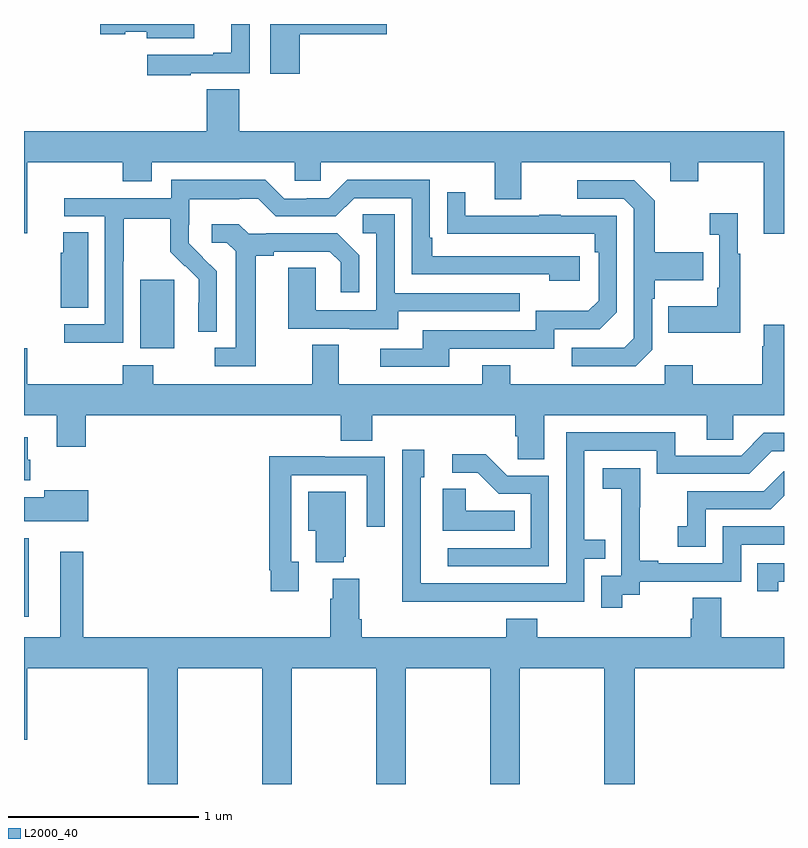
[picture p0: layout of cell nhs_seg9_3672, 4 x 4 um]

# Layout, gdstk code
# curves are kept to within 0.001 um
import gdstk
lib = gdstk.Library(unit=1e-6, precision=1e-09)
def R(c, l, rs):  # rectangles x0, y0, x1, y1
    for r in rs: c.add(gdstk.rectangle(r[:2], r[2:], *l))
def P(c, l, *ps):  # polygons
    for p in ps: c.add(gdstk.Polygon(p, *l))
L2000_40 = (2000, 40)

nhs_seg9_3672 = lib.new_cell('nhs_seg9_3672')
R(nhs_seg9_3672, L2000_40, [(321,1175.379,321.025,1175.794), (321.611,1176.794,321.79,1177.155)])
P(nhs_seg9_3672, L2000_40, [(321.895,1178.5),(321.402,1178.5),(321.402,1178.447),(321.533,1178.447),(321.533,1178.459),(321.647,1178.459),(321.647,1178.426),(321.895,1178.426)],
  [(322.451,1178.447),(322.909,1178.447),(322.909,1178.5),(322.295,1178.5),(322.295,1178.238),(322.451,1178.238)],
  [(321.878,1178.241),(322.188,1178.241),(322.188,1178.5),(322.091,1178.5),(322.091,1178.35),(321.995,1178.35),(321.995,1178.337),(321.648,1178.337),(321.648,1178.229),(321.878,1178.229)],
  [(325,1177.936),(322.133,1177.936),(322.133,1178.156),(321.962,1178.156),(321.962,1177.936),(321,1177.936),(321,1177.398),(321.016,1177.398),(321.016,1177.772),(321.521,1177.772),(321.521,1177.673),(321.673,1177.673),(321.673,1177.772),(322.425,1177.772),(322.425,1177.674),(322.563,1177.674),(322.563,1177.772),(323.477,1177.772),(323.477,1177.578),(323.617,1177.578),(323.617,1177.772),(324.401,1177.772),(324.401,1177.673),(324.549,1177.673),(324.549,1177.772),(324.893,1177.772),(324.893,1177.395),(325,1177.395)],
  [(321.522,1177.252),(321.525,1177.252),(321.525,1177.476),(321.769,1177.476),(321.769,1177.301),(321.846,1177.224),(321.849,1177.227),(321.92,1177.157),(321.92,1177.034),(321.918,1177.034),(321.918,1176.88),(322.014,1176.88),(322.014,1177.198),(321.868,1177.346),(321.868,1177.443),(321.87,1177.443),(321.87,1177.577),(322.133,1177.577),(322.133,1177.581),(322.233,1177.581),(322.326,1177.488),(322.641,1177.488),(322.737,1177.584),(323.04,1177.584),(323.04,1177.182),(323.765,1177.182),(323.765,1177.148),(323.926,1177.148),(323.926,1177.278),(323.149,1177.278),(323.149,1177.375),(323.136,1177.375),(323.136,1177.68),(322.701,1177.68),(322.605,1177.584),(322.487,1177.584),(322.487,1177.581),(322.371,1177.581),(322.271,1177.681),(321.774,1177.681),(321.774,1177.584),(321.213,1177.584),(321.213,1177.488),(321.426,1177.488),(321.426,1176.921),(321.213,1176.921),(321.213,1176.823),(321.522,1176.823)],
  [(324.306,1176.786),(324.306,1177.055),(324.319,1177.055),(324.319,1177.151),(324.575,1177.151),(324.575,1177.299),(324.319,1177.299),(324.319,1177.571),(324.213,1177.677),(323.913,1177.677),(323.913,1177.581),(324.156,1177.581),(324.21,1177.527),(324.21,1176.846),(324.159,1176.795),(323.883,1176.795),(323.883,1176.699),(324.219,1176.699)],
  [(323.239,1176.792),(323.79,1176.792),(323.79,1176.894),(324.03,1176.894),(324.12,1176.984),(324.12,1177.491),(323.825,1177.491),(323.825,1177.496),(323.713,1177.496),(323.713,1177.491),(323.323,1177.491),(323.323,1177.615),(323.227,1177.615),(323.227,1177.396),(324.004,1177.395),(324.004,1177.298),(324.024,1177.298),(324.024,1177.044),(323.971,1176.991),(323.694,1176.991),(323.694,1176.888),(323.099,1176.888),(323.099,1176.792),(322.875,1176.792),(322.875,1176.696),(323.239,1176.696)],
  [(324.769,1177.291),(324.757,1177.291),(324.757,1177.504),(324.609,1177.504),(324.609,1177.391),(324.66,1177.391),(324.66,1177.111),(324.648,1177.111),(324.648,1177.015),(324.391,1177.015),(324.391,1176.875),(324.769,1176.875)],
  [(322.969,1176.987),(323.609,1176.987),(323.609,1177.083),(322.95,1177.083),(322.95,1177.499),(322.782,1177.499),(322.782,1177.398),(322.854,1177.398),(322.854,1176.993),(322.536,1176.993),(322.536,1177.217),(322.391,1177.217),(322.391,1176.897),(322.715,1176.897),(322.715,1176.893),(322.969,1176.893)],
  [(322.219,1177.28),(322.315,1177.28),(322.315,1177.302),(322.61,1177.302),(322.667,1177.245),(322.667,1177.089),(322.764,1177.089),(322.764,1177.282),(322.648,1177.398),(322.276,1177.398),(322.276,1177.395),(322.182,1177.395),(322.13,1177.447),(321.987,1177.447),(321.987,1177.35),(322.068,1177.35),(322.115,1177.303),(322.115,1176.795),(322.005,1176.795),(322.005,1176.699),(322.219,1176.699)],
  [(321.337,1177.403),(321.206,1177.403),(321.206,1177.295),(321.194,1177.295),(321.194,1177.006),(321.337,1177.006)],
  [(323.737,1176.44),(324.593,1176.44),(324.593,1176.313),(324.732,1176.313),(324.732,1176.44),(325,1176.44),(325,1176.916),(324.893,1176.916),(324.893,1176.803),(324.886,1176.803),(324.886,1176.604),(324.519,1176.604),(324.519,1176.703),(324.372,1176.703),(324.372,1176.604),(323.559,1176.604),(323.559,1176.703),(323.411,1176.703),(323.411,1176.604),(322.657,1176.604),(322.657,1176.812),(322.517,1176.812),(322.517,1176.604),(321.681,1176.604),(321.681,1176.703),(321.521,1176.703),(321.521,1176.604),(321.016,1176.604),(321.016,1176.793),(321,1176.793),(321,1176.44),(321.173,1176.44),(321.173,1176.276),(321.326,1176.276),(321.326,1176.44),(322.667,1176.44),(322.667,1176.307),(322.832,1176.307),(322.832,1176.44),(323.585,1176.44),(323.585,1176.331),(323.598,1176.331),(323.598,1176.208),(323.737,1176.208)],
  [(323.453,1175.46),(323.949,1175.46),(323.949,1175.685),(324.059,1175.685),(324.059,1175.786),(323.949,1175.786),(323.949,1176.255),(324.33,1176.255),(324.33,1176.132),(324.816,1176.132),(324.936,1176.252),(325,1176.252),(325,1176.348),(324.894,1176.348),(324.774,1176.228),(324.427,1176.228),(324.427,1176.351),(323.853,1176.351),(323.853,1175.556),(323.088,1175.556),(323.088,1176.114),(323.107,1176.114),(323.107,1176.259),(322.992,1176.259),(322.992,1175.765),(322.99,1175.765),(322.99,1175.459)],
  [(321.032,1176.207),(321.019,1176.207),(321.019,1176.325),(321,1176.325),(321,1176.099),(321.032,1176.099)],
  [(323.763,1176.123),(323.544,1176.123),(323.431,1176.236),(323.253,1176.236),(323.253,1176.138),(323.387,1176.138),(323.498,1176.027),(323.667,1176.027),(323.667,1175.742),(323.229,1175.742),(323.229,1175.646),(323.763,1175.646)],
  [(322.447,1175.67),(322.407,1175.67),(322.407,1176.126),(322.803,1176.126),(322.803,1175.853),(322.899,1175.853),(322.899,1176.222),(322.583,1176.222),(322.583,1176.224),(322.291,1176.224),(322.291,1175.626),(322.299,1175.626),(322.299,1175.514),(322.447,1175.514)],
  [(324.148,1175.497),(324.24,1175.497),(324.24,1175.565),(324.774,1175.565),(324.774,1175.76),(325,1175.76),(325,1175.856),(324.678,1175.856),(324.678,1175.661),(324.337,1175.661),(324.337,1175.674),(324.242,1175.674),(324.242,1175.957),(324.243,1175.957),(324.243,1176.163),(324.045,1176.163),(324.045,1176.053),(324.143,1176.053),(324.143,1175.825),(324.144,1175.825),(324.144,1175.595),(324.039,1175.595),(324.039,1175.427),(324.148,1175.427)],
  [(324.588,1175.946),(324.93,1175.946),(325,1176.016),(325,1176.147),(324.998,1176.147),(324.893,1176.042),(324.49,1176.042),(324.49,1175.857),(324.441,1175.857),(324.441,1175.748),(324.588,1175.748)],
  [(323.582,1175.938),(323.325,1175.938),(323.325,1176.053),(323.204,1176.053),(323.204,1175.834),(323.582,1175.834)],
  [(321.337,1176.046),(321.107,1176.046),(321.107,1176.01),(321,1176.01),(321,1175.882),(321.337,1175.882)],
  [(322.682,1175.697),(322.693,1175.697),(322.693,1176.037),(322.496,1176.037),(322.496,1175.834),(322.535,1175.834),(322.535,1175.666),(322.682,1175.666)],
  [(321.81,1175.108),(322.255,1175.108),(322.255,1174.5),(322.41,1174.5),(322.41,1175.108),(322.855,1175.108),(322.855,1174.5),(323.01,1174.5),(323.01,1175.108),(323.455,1175.108),(323.455,1174.5),(323.61,1174.5),(323.61,1175.108),(324.055,1175.108),(324.055,1174.5),(324.215,1174.5),(324.215,1175.108),(325,1175.108),(325,1175.272),(324.669,1175.272),(324.669,1175.48),(324.521,1175.48),(324.521,1175.37),(324.509,1175.37),(324.509,1175.272),(323.702,1175.272),(323.702,1175.371),(323.537,1175.371),(323.537,1175.272),(322.778,1175.272),(322.778,1175.368),(322.765,1175.368),(322.765,1175.581),(322.625,1175.581),(322.625,1175.474),(322.613,1175.474),(322.613,1175.272),(321.313,1175.272),(321.313,1175.722),(321.191,1175.722),(321.191,1175.272),(321,1175.272),(321,1174.734),(321.016,1174.734),(321.016,1175.108),(321.65,1175.108),(321.65,1174.5),(321.81,1174.5)],
  [(324.97,1175.565),(325,1175.565),(325,1175.661),(324.859,1175.661),(324.859,1175.514),(324.97,1175.514)])

lib.write_gds('nhs_seg9_3672.gds')
